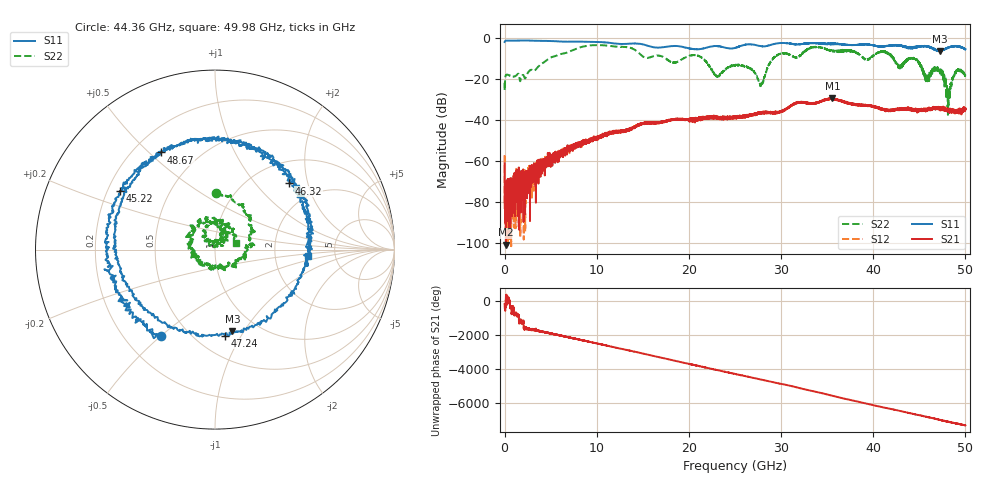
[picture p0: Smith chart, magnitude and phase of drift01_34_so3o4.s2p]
!Created with skrf (http://scikit-rf.org).
# Hz S RI R 50.0
!freq ReS11 ImS11 ReS21 ImS21 ReS12 ImS12 ReS22 ImS22
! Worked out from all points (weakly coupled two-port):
!   10001 points, 300 kHz to 50 GHz, reference 50 ohm
!   highest |S21| = -29.53 dB at 35.58 GHz (marker M1); lowest = -100.9 dB at 140.3 MHz (marker M2)
!   lowest |S11| = -6.7 dB at 47.2 GHz (marker M3), VSWR 2.74, Z = 38.4 - j44.5 ohm
!   |S11| at or under -10 dB: nowhere
!   |S22| runs from -37.6 to -3.6 dB; largest |S21 - S12| = 0.0048
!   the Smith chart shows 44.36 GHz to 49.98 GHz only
!   S11 on the Smith chart (normalised r, x): 44.36 GHz: 0.35, -0.50; 45.22 GHz: 0.25, +0.27; 46.32 GHz: 1.45, +1.54; 47.24 GHz: 0.68, -0.85; 48.67 GHz: 0.31, +0.55; 49.98 GHz: 3.11, -0.32
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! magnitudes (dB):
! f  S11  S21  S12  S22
! 300 kHz  -2.1  -61.3  -57.3  -22.0
! 140.3 MHz  -1.5  -100.9  -75.1  -18.2
! 8.335 GHz  -1.9  -51.1  -51.4  -4.6
! 16.67 GHz  -4.8  -41.5  -41.4  -8.7
! 20.97 GHz  -5.6  -40.6  -39.7  -8.8
! 23.08 GHz  -4.1  -38.6  -38.7  -18.7
! 25 GHz  -5.0  -38.5  -38.7  -13.7
! 27.84 GHz  -4.1  -36.6  -36.5  -23.0
! 29.47 GHz  -2.9  -36.3  -36.5  -8.8
! 33.34 GHz  -2.6  -32.1  -32.0  -4.7
! 35.58 GHz  -2.9  -29.5  -29.8  -6.3
! 41.67 GHz  -3.8  -35.1  -35.4  -7.7
! 42.84 GHz  -4.0  -35.2  -34.9  -14.0
! 44.36 GHz  -4.9  -35.2  -35.0  -10.0
! 45.22 GHz  -4.1  -35.1  -35.4  -13.9
! 46.32 GHz  -5.1  -34.7  -35.0  -16.9
! 47.2 GHz  -6.7  -34.3  -34.2  -15.9
! 47.24 GHz  -6.3  -34.2  -34.4  -17.2
! 48.12 GHz  -4.9  -35.6  -35.3  -33.9
! 48.67 GHz  -4.2  -36.0  -35.3  -19.9
! 49.98 GHz  -5.7  -34.9  -34.5  -18.2
! 50 GHz  -5.7  -35.0  -35.0  -18.5
